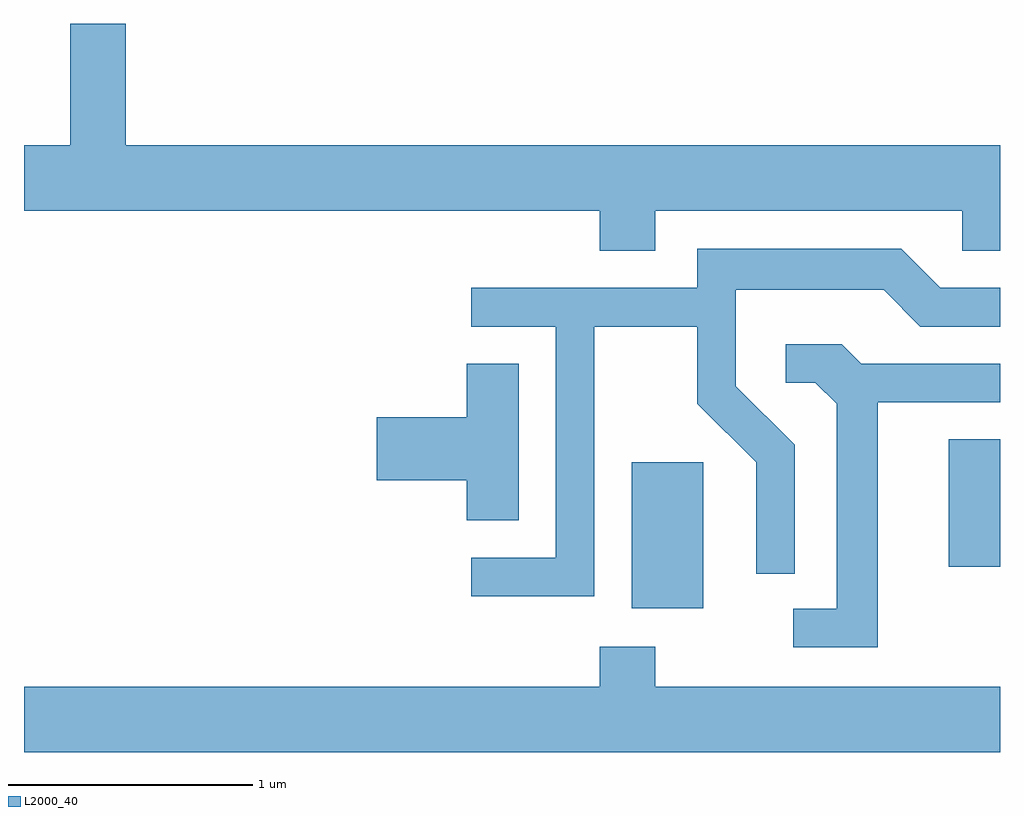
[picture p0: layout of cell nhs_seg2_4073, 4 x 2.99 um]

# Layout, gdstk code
import gdstk
lib = gdstk.Library(unit=1e-6, precision=1e-09)
def R(c, l, rs):  # rectangles x0, y0, x1, y1
    for r in rs: c.add(gdstk.rectangle(r[:2], r[2:], *l))
def P(c, l, *ps):  # polygons
    for p in ps: c.add(gdstk.Polygon(p, *l))
L2000_40 = (2000, 40)

nhs_seg2_4073 = lib.new_cell('nhs_seg2_4073')
R(nhs_seg2_4073, L2000_40, [(308.101,993.406,308.394,994.004), (309.401,993.576,309.611,994.099)])
P(nhs_seg2_4073, L2000_40, [(308.199,995.036),(309.456,995.036),(309.456,994.871),(309.611,994.871),(309.611,995.304),(306.029,995.304),(306.029,995.802),(305.801,995.802),(305.801,995.304),(305.611,995.304),(305.611,995.036),(307.971,995.036),(307.971,994.871),(308.199,994.871)],
  [(307.949,994.561),(308.371,994.561),(308.371,994.244),(308.611,994.004),(308.611,993.548),(308.769,993.548),(308.769,994.077),(308.529,994.317),(308.529,994.711),(309.134,994.711),(309.284,994.561),(309.611,994.561),(309.611,994.719),(309.367,994.719),(309.207,994.879),(308.371,994.879),(308.371,994.719),(307.443,994.719),(307.443,994.561),(307.791,994.561),(307.791,993.614),(307.443,993.614),(307.443,993.456),(307.949,993.456)],
  [(309.109,994.251),(309.611,994.251),(309.611,994.409),(309.042,994.409),(308.962,994.489),(308.733,994.489),(308.733,994.331),(308.854,994.331),(308.941,994.244),(308.941,993.404),(308.763,993.404),(308.763,993.246),(309.109,993.246)],
  [(307.639,994.409),(307.426,994.409),(307.426,994.189),(307.056,994.189),(307.056,993.931),(307.426,993.931),(307.426,993.766),(307.639,993.766)],
  [(309.611,993.084),(308.199,993.084),(308.199,993.249),(307.971,993.249),(307.971,993.084),(305.611,993.084),(305.611,992.816),(309.611,992.816)])

lib.write_gds('nhs_seg2_4073.gds')
